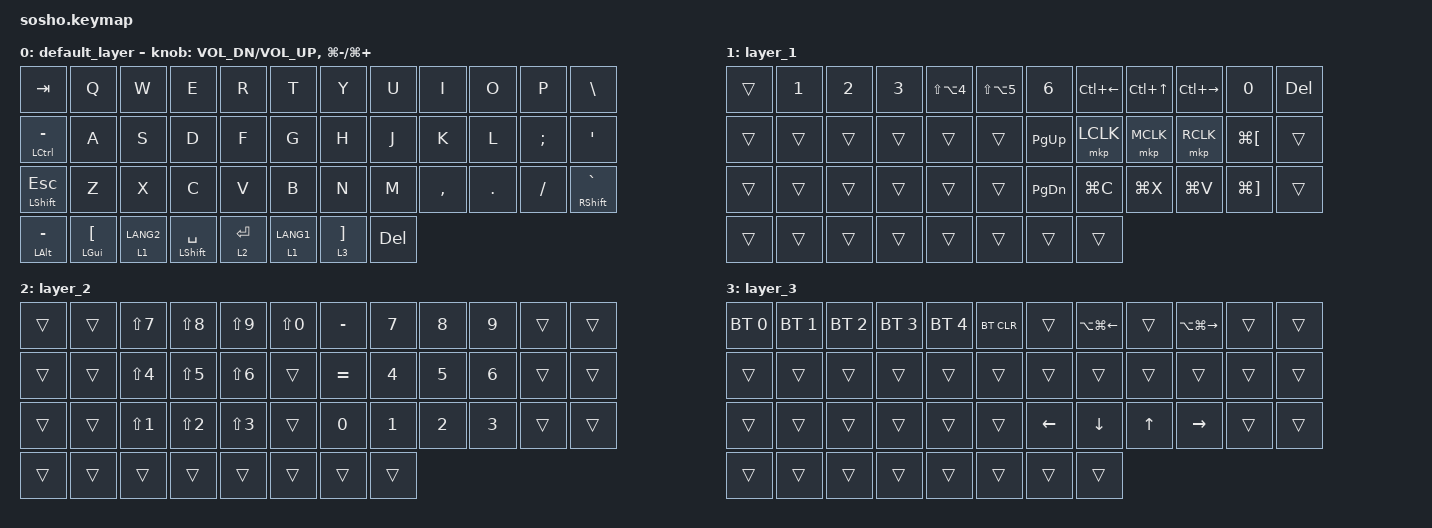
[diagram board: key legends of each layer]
//スクロール量の調整(デフォルト150)
#define ZMK_POINTING_DEFAULT_SCRL_VAL 150

#include <behaviors.dtsi>
#include <dt-bindings/zmk/bt.h>
#include <dt-bindings/zmk/keys.h>
#include <dt-bindings/zmk/pointing.h>
#include <dt-bindings/zmk/outputs.h>

/ {
	behaviors {
        ec_ms_l: ec_ms_h {
            compatible = "zmk,behavior-encoder-mouse-scroll";
            #sensor-binding-cells = <2>;
        };
        ec_ms_r: ec_ms_v {
            compatible = "zmk,behavior-encoder-mouse-scroll";
            #sensor-binding-cells = <2>;
        };
    };
};

//スクロールの調整
&msc {
    time-to-max-speed-ms = <0>;   // 即座に最大速度（加速なし）
    acceleration-exponent = <0>;   // 加速なし
};

/{
    combos {
        compatible = "zmk,combos";
		//左クリックのコンボ 19はJのキー 20はKのキーに相当します。
	    combo_LCLK {
            timeout-ms = <50>;
            key-positions = <19 20>;
            bindings = <&mkp LCLK>;
        };

		//右クリックのコンボ 20 K 21 L
        combo_RCLK {
            timeout-ms = <50>;
            key-positions = <20 21>;
            bindings = <&mkp RCLK>;
        };

		//ホイールクリックのコンボ 19 J 21 L
	    combo_MCLK {
            timeout-ms = <90>;
            key-positions = <19 21>;
            bindings = <&mkp MCLK>;
        };

    };
};

/{
keymap {
    compatible = "zmk,keymap";

    default_layer {
        bindings = <
            &kp TAB   &kp Q   &kp W   &kp E   &kp R   &kp T   &kp Y   &kp U   &kp I   &kp O   &kp P   &kp BSLH
            &mt LCTRL MINUS &kp A   &kp S   &kp D   &kp F   &kp G   &kp H   &kp J   &kp K   &kp L   &kp SEMI &kp SQT
            &mt LSHFT ESC   &kp Z   &kp X   &kp C   &kp V   &kp B   &kp N   &kp M   &kp COMMA &kp DOT &kp FSLH &mt RSHFT GRAVE
            &mt LALT MINUS   &mt LGUI LBKT   &lt 1 LANG2   &mt LSHFT SPACE   &lt 2 RET   &lt 1 LANG1   &lt 3 RBKT   &kp DEL
        >;
        // 左: 音量調節 (Down / Up), 右: 画面の拡大縮小 (Cmd - / Cmd +)
        sensor-bindings = <&inc_dec_kp C_VOL_DN C_VOL_UP &inc_dec_kp LG(MINUS) LG(PLUS)>;
    };
	
    layer_1 {
        bindings = <
            &trans    &kp N1    &kp N2    &kp N3    &kp LS(LA(N4))  &kp LS(LA(N5))  &kp N6    &kp LC(LEFT)  &kp LC(UP)    &kp LC(RIGHT) &kp N0    &kp DEL
            &trans    &trans    &trans    &trans    &trans    &trans    &kp PG_UP &mkp LCLK &mkp MCLK &mkp RCLK &kp LG(LBKT) &trans
            &trans    &trans    &trans    &trans    &trans    &trans    &kp PG_DN &kp LG(C) &kp LG(X) &kp LG(V) &kp LG(RBKT) &trans
            &trans    &trans    &trans    &trans    &trans    &trans    &trans    &trans
        >;
    };

    layer_2 {
        bindings = <
            &trans    &trans    &kp LS(N7) &kp LS(N8) &kp LS(N9) &kp LS(N0) &kp MINUS &kp N7    &kp N8    &kp N9    &trans    &trans
            &trans    &trans    &kp LS(N4) &kp LS(N5) &kp LS(N6) &trans    &kp EQUAL &kp N4    &kp N5    &kp N6    &trans    &trans
            &trans    &trans    &kp LS(N1) &kp LS(N2) &kp LS(N3) &trans    &kp N0    &kp N1    &kp N2    &kp N3    &trans    &trans
            &trans    &trans    &trans    &trans    &trans    &trans    &trans    &trans
        >;
    };

    layer_3 {
        bindings = <
            &bt BT_SEL 0 &bt BT_SEL 1 &bt BT_SEL 2 &bt BT_SEL 3 &bt BT_SEL 4 &bt BT_CLR &trans    &kp LA(LG(LEFT))    &trans    &kp LA(LG(RIGHT))    &trans    &trans
            &trans    &trans    &trans    &trans    &trans    &trans    &trans    &trans    &trans    &trans    &trans    &trans
            &trans    &trans    &trans    &trans    &trans    &trans    &kp LEFT  &kp DOWN  &kp UP    &kp RIGHT &trans    &trans
            &trans    &trans    &trans    &trans    &trans    &trans    &trans    &trans
        >;
    };
    scroll {
        status = "reserved";
    };

    extra2 {
        status = "reserved";
    };
};
};
